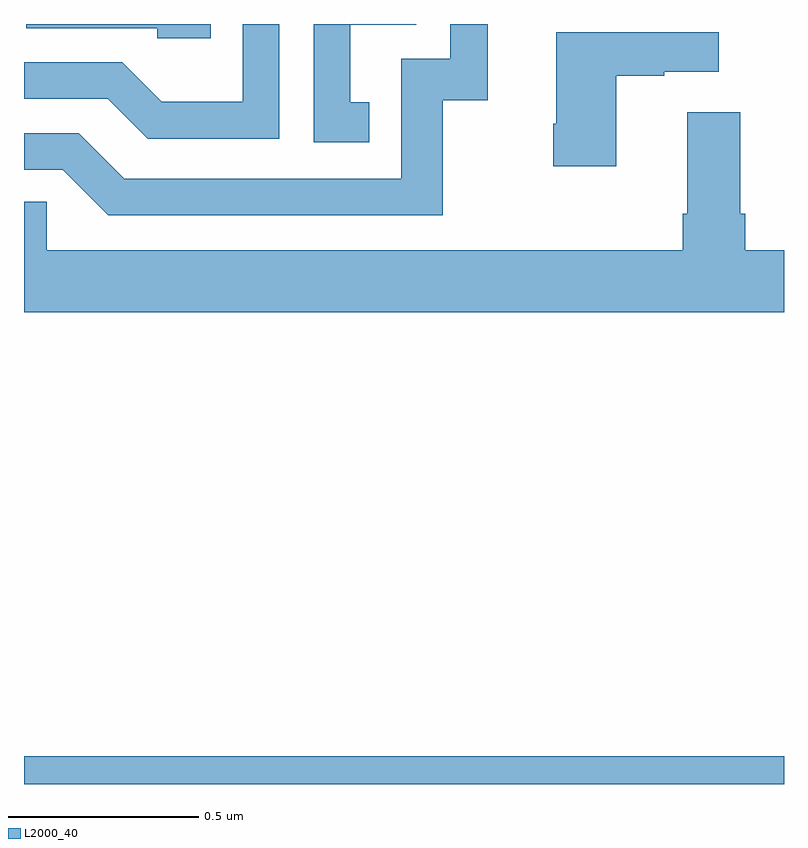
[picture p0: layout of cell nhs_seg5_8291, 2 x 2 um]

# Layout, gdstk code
import gdstk
lib = gdstk.Library(unit=1e-6, precision=1e-09)
def R(c, l, rs):  # rectangles x0, y0, x1, y1
    for r in rs: c.add(gdstk.rectangle(r[:2], r[2:], *l))
def P(c, l, *ps):  # polygons
    for p in ps: c.add(gdstk.Polygon(p, *l))
L2000_40 = (2000, 40)

nhs_seg5_8291 = lib.new_cell('nhs_seg5_8291')
R(nhs_seg5_8291, L2000_40, [(219,908.799,221,908.872)])
P(nhs_seg5_8291, L2000_40, [(220.102,910.599),(220.22,910.599),(220.22,910.799),(220.122,910.799),(220.122,910.707),(219.993,910.707),(219.993,910.392),(219.264,910.392),(219.144,910.512),(219,910.512),(219,910.416),(219.102,910.416),(219.222,910.296),(220.102,910.296)],
  [(219.491,910.799),(219.006,910.799),(219.006,910.788),(219.351,910.788),(219.351,910.761),(219.491,910.761)],
  [(219.908,910.593),(219.859,910.593),(219.859,910.797),(220.032,910.797),(220.032,910.799),(219.762,910.799),(219.762,910.488),(219.908,910.488)],
  [(219.672,910.799),(219.576,910.799),(219.576,910.594),(219.362,910.594),(219.258,910.698),(219,910.698),(219,910.602),(219.221,910.602),(219.326,910.497),(219.672,910.497)],
  [(220.558,910.663),(220.685,910.663),(220.685,910.673),(220.828,910.673),(220.828,910.777),(220.4,910.777),(220.4,910.537),(220.393,910.537),(220.393,910.425),(220.558,910.425)],
  [(221,910.204),(220.898,910.204),(220.898,910.3),(220.885,910.3),(220.885,910.567),(220.745,910.567),(220.745,910.3),(220.733,910.3),(220.733,910.204),(219.06,910.204),(219.06,910.331),(219,910.331),(219,910.04),(221,910.04)])

lib.write_gds('nhs_seg5_8291.gds')
